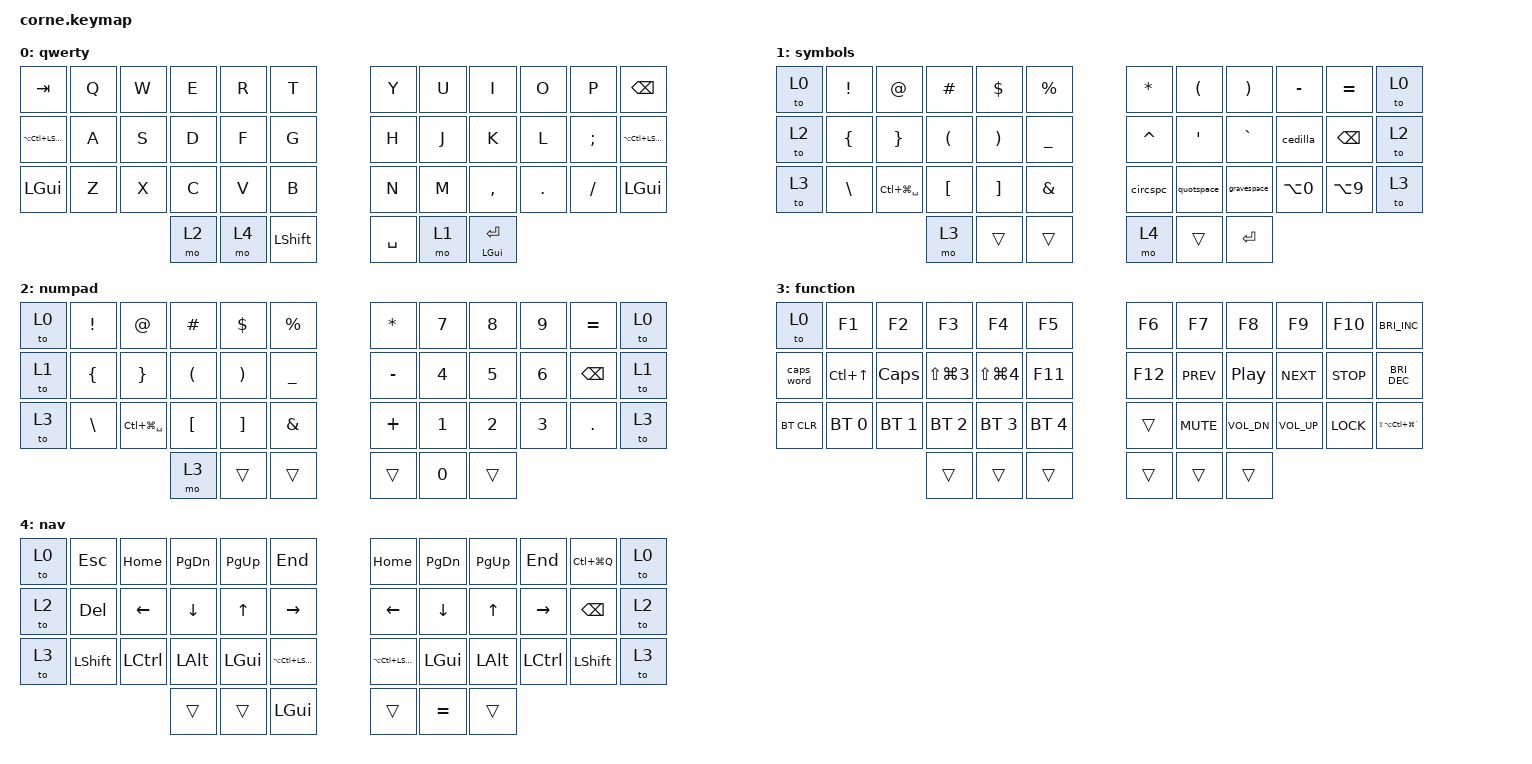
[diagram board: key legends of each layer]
#include <behaviors.dtsi>
#include <dt-bindings/zmk/bt.h>
#include <dt-bindings/zmk/keys.h>

/ {
    macros {
        circspc: circspc {
            compatible = "zmk,behavior-macro";
            #binding-cells = <0>;
            bindings = <&kp LS(NUMBER_6) &kp SPACE>;
            label = "CIRCSPC";
        };

        quotspace: quotspace {
            compatible = "zmk,behavior-macro";
            #binding-cells = <0>;
            bindings = <&kp SINGLE_QUOTE &kp SPACE>;
            label = "QUOTSPACE";
        };

        tildespace: tildespace {
            compatible = "zmk,behavior-macro";
            #binding-cells = <0>;
            bindings = <&kp LS(GRAVE) &kp SPACE>;
            label = "TILDESPACE";
        };

        dquotespace: dquotespace {
            compatible = "zmk,behavior-macro";
            #binding-cells = <0>;
            bindings = <&kp LS(SINGLE_QUOTE) &kp SPACE>;
            label = "DQUOTESPACE";
        };

        gravespace: gravespace {
            compatible = "zmk,behavior-macro";
            #binding-cells = <0>;
            bindings = <&kp GRAVE &kp SPACE>;
            label = "GRAVESPACE";
        };

        cedilla: cedilla {
            compatible = "zmk,behavior-macro";
            #binding-cells = <0>;
            bindings = <&kp RA(C)>;
            label = "Ç";
        };
    };

    combos {
        compatible = "zmk,combos";

        lsft {
            bindings = <&kp LSHFT>;
            key-positions = <15 16>;
            layers = <0 1 2 3>;
        };

        rsft {
            bindings = <&kp RSHFT>;
            key-positions = <19 20>;
            layers = <0 1 2 3>;
        };

        lgui {
            bindings = <&kp LGUI>;
            key-positions = <27 28>;
            layers = <0 1 2 3>;
        };

        ltgui {
            bindings = <&kp LGUI>;
            key-positions = <36 37>;
            layers = <0 1 2 3>;
        };

        rtgui {
            bindings = <&kp LGUI>;
            key-positions = <40 41>;
            layers = <0 1 2 3>;
        };

        ltguia {
            bindings = <&kp LGUI>;
            key-positions = <37 38>;
            layers = <0 1 2 3>;
        };

        rtguia {
            bindings = <&kp LGUI>;
            key-positions = <39 40>;
            layers = <0 1 2 3>;
        };

        rgui {
            bindings = <&kp RGUI>;
            key-positions = <31 32>;
            layers = <0 1 2 3>;
        };

        lctl {
            bindings = <&kp LCTRL>;
            key-positions = <26 27>;
            layers = <0 1 2 3>;
        };

        rctl {
            bindings = <&kp RCTRL>;
            key-positions = <32 33>;
            layers = <0 1 2 3>;
        };

        lalt {
            bindings = <&kp LALT>;
            key-positions = <25 28>;
            layers = <0 1 2 3>;
        };

        ralt {
            bindings = <&kp RALT>;
            key-positions = <31 34>;
            layers = <0 1 2 3>;
        };

        lhypr {
            bindings = <&kp LA(LC(LG(LSHFT)))>;
            key-positions = <1 2 3 4>;
            layers = <0 1 2 3>;
        };

        rhypr {
            bindings = <&kp LA(LC(LG(LSHFT)))>;
            key-positions = <7 8 9 10>;
            layers = <0 1 2 3>;
        };

        capsword {
            bindings = <&caps_word>;
            key-positions = <14 15 20 21>;
            layers = <0 1 2 3>;
        };

        lreset {
            bindings = <&kp C_RESET>;
            key-positions = <25 26 27 28>;
            layers = <0 1 2 3>;
        };

        rreset {
            bindings = <&kp C_RESET>;
            key-positions = <31 32 33 34>;
            layers = <0 1 2 3>;
        };
    };

    keymap {
        compatible = "zmk,keymap";

        qwerty {
            display-name = "qwerty";
            bindings = <
&kp TAB             &kp Q  &kp W  &kp E  &kp R  &kp T                        &kp Y      &kp U      &kp I      &kp O       &kp P          &kp BACKSPACE
&kp LA(LC(LSHIFT))  &kp A  &kp S  &kp D  &kp F  &kp G                        &kp H      &kp J      &kp K      &kp L       &kp SEMICOLON  &kp LA(LC(LSHFT))
&kp LGUI            &kp Z  &kp X  &kp C  &kp V  &kp B                        &kp N      &kp M      &kp COMMA  &kp PERIOD  &kp SLASH      &kp LGUI
                                         &mo 2  &mo 4  &kp LSHFT  &kp SPACE  &mo 1      &mt LGUI ENTER  
            >;
        };

        symbols {
            display-name = "symbols";
            bindings = <
&to 0   &kp EXCL  &kp AT_SIGN        &kp HASH  &kp DOLLAR  &kp PERCENT                    &kp ASTRK  &kp LPAR    &kp RPAR     &kp MINUS   &kp EQUAL      &to 0
&to 2   &kp LBRC  &kp RBRC           &kp LPAR  &kp RPAR    &kp UNDERSCORE                 &kp CARET  &kp SQT     &kp GRAVE    &cedilla    &kp BACKSPACE  &to 2
&to 3   &kp BSLH  &kp LC(LG(SPACE))  &kp LBKT  &kp RBKT    &kp AMPS                       &circspc   &quotspace  &gravespace  &kp LA(N0)  &kp LA(N9)     &to 3
                                               &mo 3       &trans          &trans  &mo 4  &trans     &kp ENTER
            >;
        };

        numpad {
            display-name = "numpad";
            bindings = <
&to 0   &kp EXCL  &kp AT             &kp HASH  &kp DOLLAR  &kp PRCNT                       &kp ASTRK  &kp N7  &kp N8  &kp N9  &kp EQUAL      &to 0
&to 1   &kp LBRC  &kp RBRC           &kp LPAR  &kp RPAR    &kp UNDERSCORE                  &kp MINUS  &kp N4  &kp N5  &kp N6  &kp BACKSPACE  &to 1
&to 3   &kp BSLH  &kp LC(LG(SPACE))  &kp LBKT  &kp RBKT    &kp AMPS                        &kp PLUS   &kp N1  &kp N2  &kp N3  &kp DOT        &to 3
                                               &mo 3       &trans          &trans  &trans  &kp N0     &trans
            >;
        };

        function {
            display-name = "function";
            bindings = <
&to 0       &kp F1        &kp F2        &kp F3          &kp F4          &kp F5                        &kp F6   &kp F7      &kp F8            &kp F9        &kp F10     &kp C_BRIGHTNESS_INC
&caps_word  &kp LC(UP)    &kp CAPS      &kp LS(LG(N3))  &kp LS(LG(N4))  &kp F11                       &kp F12  &kp C_PREV  &kp C_PLAY_PAUSE  &kp C_NEXT    &kp C_STOP  &kp C_BRIGHTNESS_DEC
&bt BT_CLR  &bt BT_SEL 0  &bt BT_SEL 1  &bt BT_SEL 2    &bt BT_SEL 3    &bt BT_SEL 4                  &trans   &kp C_MUTE  &kp C_VOL_DN      &kp C_VOL_UP  &kp K_LOCK  &kp LS(LA(LC(LG(GRAVE))))
                                                         &trans          &trans       &trans  &trans   &trans   &trans
            >;
        };

        nav {
            display-name = "nav";
            bindings = <
&to 0   &kp ESC    &kp HOME        &kp PG_DN  &kp PG_UP     &kp END                              &kp HOME           &kp PG_DN  &kp PG_UP     &kp END          &kp LC(LG(Q))  &to 0
&to 2   &kp DEL    &kp LEFT_ARROW  &kp DOWN   &kp UP_ARROW  &kp RIGHT_ARROW                      &kp LEFT_ARROW     &kp DOWN   &kp UP_ARROW  &kp RIGHT_ARROW  &kp BACKSPACE  &to 2
&to 3   &kp LSHFT  &kp LCTRL       &kp LALT   &kp LGUI      &kp LA(LC(LSHFT))                    &kp LA(LC(LSHFT))  &kp LGUI   &kp LALT      &kp LCTRL        &kp LSHFT      &to 3
                                              &trans        &trans             &kp LGUI  &trans  &kp EQUAL          &trans
            >;
        };
    };
};
